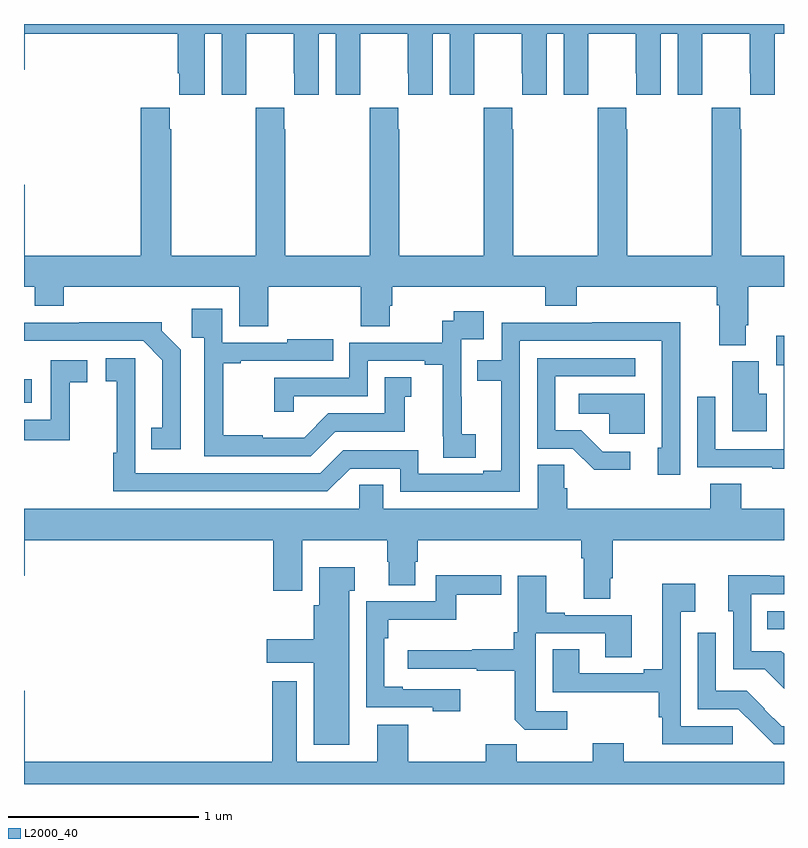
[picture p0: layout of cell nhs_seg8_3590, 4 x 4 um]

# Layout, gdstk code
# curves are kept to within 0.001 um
import gdstk
lib = gdstk.Library(unit=1e-6, precision=1e-09)
def R(c, l, rs):  # rectangles x0, y0, x1, y1
    for r in rs: c.add(gdstk.rectangle(r[:2], r[2:], *l))
def P(c, l, *ps):  # polygons
    for p in ps: c.add(gdstk.Polygon(p, *l))
L2000_40 = (2000, 40)

nhs_seg8_3590 = lib.new_cell('nhs_seg8_3590')
R(nhs_seg8_3590, L2000_40, [(336.913,1098.714,337,1098.81), (333,1099.907,333.04,1100.029)])
P(nhs_seg8_3590, L2000_40, [(333.952,1101.848),(334.04,1101.848),(334.04,1101.528),(334.17,1101.528),(334.17,1101.64),(334.171,1101.64),(334.171,1101.848),(334.421,1101.848),(334.421,1101.64),(334.422,1101.64),(334.422,1101.528),(334.552,1101.528),(334.552,1101.848),(334.64,1101.848),(334.64,1101.528),(334.77,1101.528),(334.77,1101.64),(334.771,1101.64),(334.771,1101.848),(335.021,1101.848),(335.021,1101.64),(335.022,1101.64),(335.022,1101.528),(335.152,1101.528),(335.152,1101.848),(335.24,1101.848),(335.24,1101.528),(335.37,1101.528),(335.37,1101.64),(335.371,1101.64),(335.371,1101.848),(335.621,1101.848),(335.621,1101.64),(335.622,1101.64),(335.622,1101.528),(335.752,1101.528),(335.752,1101.848),(335.84,1101.848),(335.84,1101.528),(335.97,1101.528),(335.97,1101.64),(335.971,1101.64),(335.971,1101.848),(336.221,1101.848),(336.221,1101.64),(336.222,1101.64),(336.222,1101.528),(336.352,1101.528),(336.352,1101.848),(336.44,1101.848),(336.44,1101.528),(336.57,1101.528),(336.57,1101.64),(336.571,1101.64),(336.571,1101.848),(336.821,1101.848),(336.821,1101.64),(336.822,1101.64),(336.822,1101.528),(336.952,1101.528),(336.952,1101.848),(337,1101.848),(337,1101.9),(333,1101.9),(333,1101.66),(333.004,1101.66),(333.004,1101.848),(333.809,1101.848),(333.809,1101.64),(333.818,1101.64),(333.818,1101.528),(333.952,1101.528)],
  [(336.621,1101.347),(336.619,1101.347),(336.619,1100.68),(336.174,1100.68),(336.174,1101.347),(336.171,1101.347),(336.171,1101.46),(336.021,1101.46),(336.021,1101.347),(336.019,1101.347),(336.019,1100.68),(335.574,1100.68),(335.574,1101.347),(335.571,1101.347),(335.571,1101.46),(335.421,1101.46),(335.421,1101.347),(335.419,1101.347),(335.419,1100.68),(334.974,1100.68),(334.974,1101.347),(334.971,1101.347),(334.971,1101.46),(334.821,1101.46),(334.821,1101.347),(334.819,1101.347),(334.819,1100.68),(334.374,1100.68),(334.374,1101.347),(334.371,1101.347),(334.371,1101.46),(334.221,1101.46),(334.221,1101.347),(334.219,1101.347),(334.219,1100.68),(333.774,1100.68),(333.774,1101.347),(333.767,1101.347),(333.767,1101.46),(333.614,1101.46),(333.614,1100.68),(333.004,1100.68),(333.004,1101.055),(333,1101.055),(333,1100.516),(333.056,1100.516),(333.056,1100.417),(333.209,1100.417),(333.209,1100.516),(334.133,1100.516),(334.133,1100.308),(334.286,1100.308),(334.286,1100.516),(334.772,1100.516),(334.772,1100.308),(334.924,1100.308),(334.924,1100.418),(334.937,1100.418),(334.937,1100.516),(335.744,1100.516),(335.744,1100.417),(335.909,1100.417),(335.909,1100.516),(336.647,1100.516),(336.647,1100.42),(336.659,1100.42),(336.659,1100.209),(336.799,1100.209),(336.799,1100.314),(336.812,1100.314),(336.812,1100.516),(337,1100.516),(337,1100.68),(336.774,1100.68),(336.774,1101.347),(336.771,1101.347),(336.771,1101.46),(336.621,1101.46)],
  [(334.638,1099.755),(335.005,1099.755),(335.005,1099.939),(335.038,1099.939),(335.038,1100.042),(334.898,1100.042),(334.898,1099.851),(334.602,1099.851),(334.474,1099.723),(334.256,1099.723),(334.256,1099.735),(334.049,1099.735),(334.049,1100.115),(334.141,1100.115),(334.141,1100.127),(334.628,1100.127),(334.628,1100.242),(334.385,1100.242),(334.385,1100.223),(334.044,1100.223),(334.044,1100.401),(333.883,1100.401),(333.883,1100.249),(333.948,1100.249),(333.948,1099.626),(334.509,1099.626)],
  [(335.377,1099.74),(335.303,1099.74),(335.303,1099.937),(335.301,1099.937),(335.301,1100.241),(335.419,1100.241),(335.419,1100.389),(335.263,1100.389),(335.263,1100.337),(335.2,1100.337),(335.2,1100.223),(334.713,1100.223),(334.713,1100.037),(334.318,1100.037),(334.318,1099.86),(334.419,1099.86),(334.419,1099.941),(334.809,1099.941),(334.809,1100.127),(335.108,1100.127),(335.108,1100.107),(335.204,1100.107),(335.204,1099.729),(335.206,1099.729),(335.206,1099.618),(335.377,1099.618)],
  [(335.61,1100.232),(336.357,1100.232),(336.357,1099.671),(336.335,1099.671),(336.335,1099.527),(336.453,1099.527),(336.453,1100.026),(336.455,1100.026),(336.455,1100.33),(335.992,1100.33),(335.992,1100.328),(335.514,1100.328),(335.514,1100.13),(335.386,1100.13),(335.386,1100.022),(335.513,1100.022),(335.513,1099.548),(335.417,1099.548),(335.417,1099.533),(335.076,1099.533),(335.076,1099.656),(334.68,1099.656),(334.56,1099.536),(333.585,1099.536),(333.586,1100.14),(333.429,1100.14),(333.429,1100.019),(333.487,1100.019),(333.487,1099.643),(333.469,1099.643),(333.469,1099.44),(334.596,1099.44),(334.716,1099.56),(334.98,1099.56),(334.98,1099.437),(335.61,1099.437)],
  [(333.825,1100.186),(333.726,1100.285),(333.726,1100.33),(333.292,1100.33),(333.292,1100.328),(333,1100.328),(333,1100.232),(333.627,1100.232),(333.728,1100.131),(333.728,1099.775),(333.67,1099.775),(333.67,1099.662),(333.825,1099.662)],
  [(337,1100.26),(336.959,1100.26),(336.959,1100.104),(336.999,1100.104),(336.999,1099.662),(336.639,1099.662),(336.639,1099.939),(336.543,1099.939),(336.543,1099.566),(336.939,1099.566),(336.939,1099.559),(337,1099.559)],
  [(336.19,1099.65),(336.045,1099.65),(335.934,1099.761),(335.796,1099.761),(335.796,1100.046),(336.217,1100.046),(336.217,1100.142),(335.7,1100.142),(335.7,1099.665),(335.889,1099.665),(336.002,1099.553),(336.19,1099.553)],
  [(333.24,1100.014),(333.334,1100.014),(333.334,1100.13),(333.141,1100.13),(333.141,1099.818),(333,1099.818),(333,1099.71),(333.24,1099.71)],
  [(336.91,1099.954),(336.868,1099.954),(336.868,1100.124),(336.728,1100.124),(336.728,1099.757),(336.91,1099.757)],
  [(336.268,1099.954),(335.919,1099.954),(335.919,1099.85),(336.081,1099.85),(336.081,1099.743),(336.268,1099.743)],
  [(336.085,1098.982),(336.098,1098.982),(336.098,1099.184),(337,1099.184),(337,1099.348),(336.776,1099.348),(336.776,1099.481),(336.611,1099.481),(336.611,1099.348),(335.858,1099.348),(335.858,1099.457),(335.844,1099.457),(335.844,1099.58),(335.705,1099.58),(335.705,1099.348),(334.891,1099.348),(334.891,1099.475),(334.764,1099.475),(334.764,1099.348),(333,1099.348),(333,1098.996),(333.004,1098.996),(333.004,1099.184),(334.313,1099.184),(334.313,1098.918),(334.465,1098.918),(334.465,1099.184),(334.912,1099.184),(334.912,1099.071),(334.919,1099.071),(334.919,1098.946),(335.059,1098.946),(335.059,1099.071),(335.072,1099.071),(335.072,1099.184),(335.933,1099.184),(335.933,1099.088),(335.945,1099.088),(335.945,1098.874),(336.085,1098.874)],
  [(334.711,1098.917),(334.741,1098.917),(334.741,1099.042),(334.553,1099.042),(334.553,1098.84),(334.526,1098.84),(334.526,1098.661),(334.278,1098.661),(334.278,1098.539),(334.526,1098.539),(334.526,1098.107),(334.711,1098.107)],
  [(335.296,1098.399),(334.993,1098.399),(334.993,1098.412),(334.896,1098.412),(334.896,1098.668),(334.916,1098.668),(334.916,1098.764),(335.275,1098.764),(335.275,1098.895),(335.512,1098.895),(335.512,1098.998),(335.166,1098.998),(335.166,1098.861),(334.8,1098.861),(334.8,1098.303),(335.151,1098.303),(335.151,1098.284),(335.296,1098.284)],
  [(337,1098.585),(336.985,1098.6),(336.828,1098.6),(336.828,1098.9),(337,1098.9),(337,1098.996),(336.925,1098.996),(336.925,1098.998),(336.707,1098.998),(336.707,1098.81),(336.732,1098.81),(336.732,1098.504),(336.898,1098.504),(337,1098.402)],
  [(335.86,1098.282),(335.694,1098.282),(335.694,1098.693),(336.059,1098.693),(336.059,1098.568),(336.199,1098.568),(336.199,1098.789),(335.845,1098.789),(335.845,1098.802),(335.749,1098.802),(335.749,1098.997),(335.598,1098.997),(335.598,1098.7),(335.578,1098.7),(335.578,1098.608),(335.359,1098.608),(335.359,1098.604),(335.019,1098.604),(335.019,1098.507),(335.383,1098.507),(335.383,1098.495),(335.583,1098.495),(335.583,1098.237),(335.635,1098.186),(335.86,1098.186)],
  [(336.729,1098.204),(336.456,1098.204),(336.456,1098.806),(336.532,1098.806),(336.532,1098.955),(336.359,1098.955),(336.359,1098.503),(336.263,1098.503),(336.263,1098.483),(335.923,1098.483),(335.923,1098.608),(335.783,1098.608),(335.783,1098.382),(336.34,1098.382),(336.34,1098.251),(336.359,1098.251),(336.359,1098.108),(336.729,1098.108)],
  [(337,1098.204),(336.987,1098.204),(336.897,1098.294),(336.899,1098.296),(336.805,1098.39),(336.642,1098.39),(336.642,1098.697),(336.546,1098.697),(336.546,1098.294),(336.759,1098.294),(336.947,1098.108),(337,1098.108)],
  [(337,1098.016),(336.157,1098.016),(336.157,1098.115),(335.993,1098.115),(335.993,1098.016),(335.593,1098.016),(335.593,1098.109),(335.429,1098.109),(335.429,1098.016),(335.023,1098.016),(335.023,1098.211),(334.859,1098.211),(334.859,1098.016),(334.435,1098.016),(334.435,1098.442),(334.307,1098.442),(334.307,1098.016),(333.004,1098.016),(333.004,1098.391),(333,1098.391),(333,1097.9),(337,1097.9)])

lib.write_gds('nhs_seg8_3590.gds')
